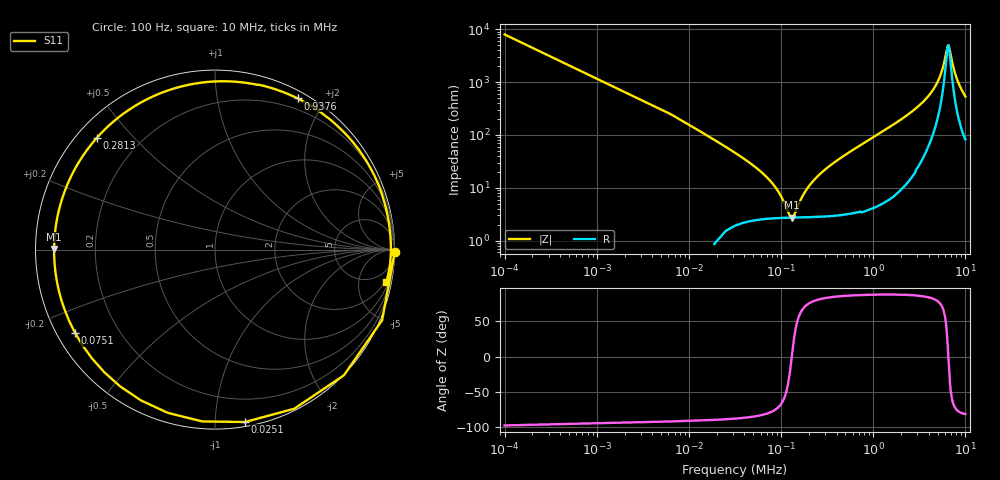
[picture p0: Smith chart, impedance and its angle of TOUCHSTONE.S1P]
!Keysight Technologies,E5061B,MY49912438,B.06.30
!Date: Thu Nov 06 20:15:28 2025
!Data & Calibration Information:
!Freq	S11:SOLT1(ON)
# Hz S RI R 50
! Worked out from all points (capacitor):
!   1601 points, 100 Hz to 10 MHz, reference 50 ohm
!   read as one part to ground: C = 104 nF near 50.1 kHz
!   lowest |Z| = 2.73 ohm at 131.3 kHz (marker M1)
!   series resonance near 130.7 kHz, so ESL is about 14 uH
!   S11 on the Smith chart (normalised r, x): 100 Hz: open; 25.1 kHz: 0.03, -1.19; 75.1 kHz: 0.05, -0.27; 281.3 kHz: 0.06, +0.40; 937.6 kHz: 0.08, +1.69; 10 MHz: 2, -11
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100  1.002 -0.0125
25099.75  0.1671 -0.9606
56349.44  -0.6164 -0.6837
62599.38  -0.6852 -0.6064
75099.25  -0.7801 -0.4632
87599.12  -0.8372 -0.3368
100099  -0.871 -0.2252
131348.7  -0.8965 0.00403
162598.4  -0.8776 0.1841
200098  -0.8248 0.3569
237597.6  -0.7536 0.4954
281347.2  -0.6575 0.6237
337596.6  -0.5247 0.7465
393846.1  -0.3908 0.8315
525094.8  -0.1035 0.9263
718842.8  0.2207 0.9212
937590.6  0.4613 0.8418
1081339  0.5689 0.7789
1250088  0.6615 0.7079
1481335  0.7494 0.6208
1756332  0.8176 0.5331
2500075  0.9094 0.3644
3750062  0.9596 0.1984
5000050  0.9755 0.0945
6250038  0.98 0.0155
7500025  0.978 -0.0524
8750012  0.9699 -0.1159
1e7  0.9551 -0.1785
